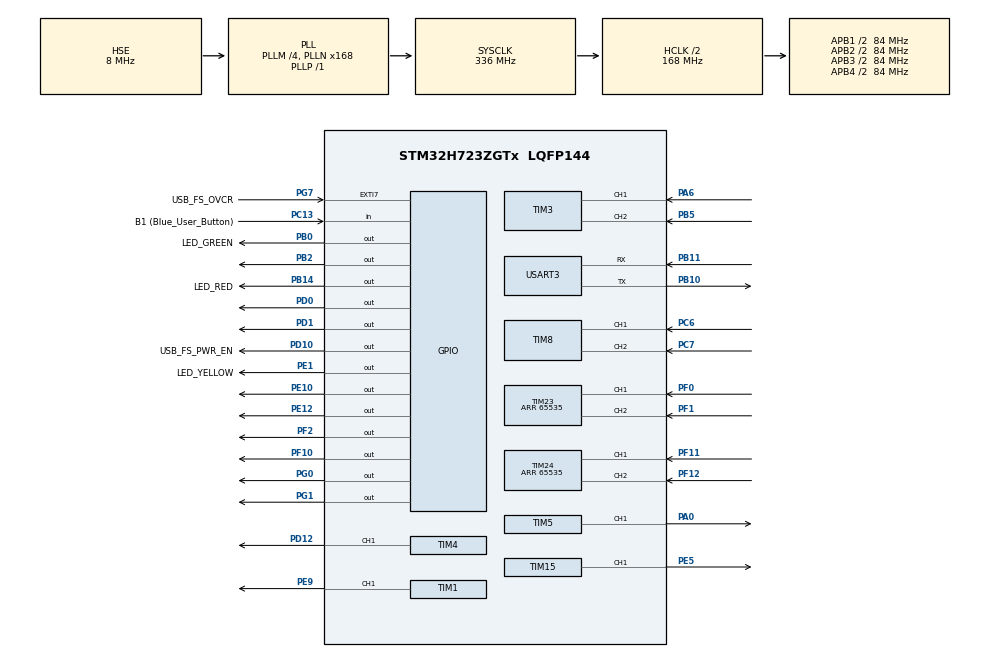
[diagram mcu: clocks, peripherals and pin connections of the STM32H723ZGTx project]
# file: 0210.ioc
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Dma.Request0=USART3_RX
Dma.Request1=USART3_TX
Dma.USART3_RX.0.Direction=DMA_PERIPH_TO_MEMORY
Dma.USART3_RX.0.EventEnable=DISABLE
Dma.USART3_RX.0.FIFOMode=DMA_FIFOMODE_DISABLE
Dma.USART3_RX.0.Instance=DMA1_Stream0
Dma.USART3_RX.0.MemDataAlignment=DMA_MDATAALIGN_BYTE
Dma.USART3_RX.0.MemInc=DMA_MINC_ENABLE
Dma.USART3_RX.0.Mode=DMA_NORMAL
Dma.USART3_RX.0.PeriphDataAlignment=DMA_PDATAALIGN_BYTE
Dma.USART3_RX.0.PeriphInc=DMA_PINC_DISABLE
Dma.USART3_RX.0.Polarity=HAL_DMAMUX_REQ_GEN_RISING
Dma.USART3_RX.0.Priority=DMA_PRIORITY_HIGH
Dma.USART3_RX.0.RequestNumber=1
Dma.USART3_RX.0.SignalID=NONE
Dma.USART3_RX.0.SyncEnable=DISABLE
Dma.USART3_RX.0.SyncPolarity=HAL_DMAMUX_SYNC_NO_EVENT
Dma.USART3_RX.0.SyncRequestNumber=1
Dma.USART3_RX.0.SyncSignalID=NONE
Dma.USART3_TX.1.Direction=DMA_MEMORY_TO_PERIPH
Dma.USART3_TX.1.EventEnable=DISABLE
Dma.USART3_TX.1.FIFOMode=DMA_FIFOMODE_DISABLE
Dma.USART3_TX.1.Instance=DMA1_Stream1
Dma.USART3_TX.1.MemDataAlignment=DMA_MDATAALIGN_BYTE
Dma.USART3_TX.1.MemInc=DMA_MINC_ENABLE
Dma.USART3_TX.1.Mode=DMA_NORMAL
Dma.USART3_TX.1.PeriphDataAlignment=DMA_PDATAALIGN_BYTE
Dma.USART3_TX.1.PeriphInc=DMA_PINC_DISABLE
Dma.USART3_TX.1.Polarity=HAL_DMAMUX_REQ_GEN_RISING
Dma.USART3_TX.1.Priority=DMA_PRIORITY_HIGH
Dma.USART3_TX.1.RequestNumber=1
Dma.USART3_TX.1.SignalID=NONE
Dma.USART3_TX.1.SyncEnable=DISABLE
Dma.USART3_TX.1.SyncPolarity=HAL_DMAMUX_SYNC_NO_EVENT
Dma.USART3_TX.1.SyncRequestNumber=1
Dma.USART3_TX.1.SyncSignalID=NONE
Mcu.Family=STM32H7
Mcu.Name=STM32H723ZGTx
Mcu.Package=LQFP144
NVIC.DMA1_Stream0_IRQn=true\:0\:0\:false\:false\:true\:false\:true\:true
NVIC.DMA1_Stream1_IRQn=true\:0\:0\:false\:false\:true\:false\:true\:true
NVIC.PriorityGroup=NVIC_PRIORITYGROUP_4
NVIC.RCC_IRQn=true\:0\:0\:false\:false\:true\:true\:false\:true
NVIC.TIM2_IRQn=true\:0\:0\:false\:false\:true\:true\:true\:true
NVIC.USART3_IRQn=true\:0\:0\:false\:false\:true\:true\:true\:true
PA0.Signal=S_TIM5_CH1
PA1.GPIO_Label=RMII_REF_CLK
PA1.Signal=ETH_REF_CLK
PA10.GPIO_Label=USB_FS_ID
PA10.Signal=USB_OTG_HS_ID
PA13(JTMS/SWDIO).GPIO_Label=SWDIO
PA13(JTMS/SWDIO).Signal=DEBUG_JTMS-SWDIO
PA14(JTCK/SWCLK).GPIO_Label=SWCLK
PA14(JTCK/SWCLK).Signal=DEBUG_JTCK-SWCLK
PA2.GPIO_Label=RMII_MDIO
PA2.Signal=ETH_MDIO
PA6.Signal=S_TIM3_CH1
PA7.GPIO_Label=RMII_CRS_DV
PA7.Signal=ETH_CRS_DV
PA9.GPIO_Label=USB_FS_VBUS
PA9.Signal=USB_OTG_HS_VBUS
PB0.GPIO_Label=LED_GREEN
PB0.Signal=GPIO_Output
PB10.Mode=Asynchronous
PB10.Signal=USART3_TX
PB11.Mode=Asynchronous
PB11.Signal=USART3_RX
PB13.GPIO_Label=RMII_TXD1
PB13.Signal=ETH_TXD1
PB14.GPIO_Label=LED_RED
PB14.Signal=GPIO_Output
PB2.Signal=GPIO_Output
PB3(JTDO/TRACESWO).GPIO_Label=SWO
PB3(JTDO/TRACESWO).Signal=DEBUG_JTDO-SWO
PB5.Signal=S_TIM3_CH2
PC1.GPIO_Label=RMII_MDC
PC1.Signal=ETH_MDC
PC13.GPIO_Label=B1 (Blue_User_Button)
PC13.Signal=GPIO_Input
PC14-OSC32_IN.Mode=LSE-External-Oscillator
PC14-OSC32_IN.Signal=RCC_OSC32_IN
PC15-OSC32_OUT.Mode=LSE-External-Oscillator
PC15-OSC32_OUT.Signal=RCC_OSC32_OUT
PC4.GPIO_Label=RMII_RXD0
PC4.Signal=ETH_RXD0
PC5.GPIO_Label=RMII_RXD1
PC5.Signal=ETH_RXD1
PC6.Signal=S_TIM8_CH1
PC7.Signal=S_TIM8_CH2
PD0.Signal=GPIO_Output
PD1.Signal=GPIO_Output
PD10.GPIO_Label=USB_FS_PWR_EN
PD10.Signal=GPIO_Output
PD12.Signal=S_TIM4_CH1
PE1.GPIO_Label=LED_YELLOW
PE1.Signal=GPIO_Output
PE10.Signal=GPIO_Output
PE12.Signal=GPIO_Output
PE5.Signal=S_TIM15_CH1
PE9.Signal=S_TIM1_CH1
PF0.Mode=Encoder_Interface
PF0.Signal=TIM23_CH1
PF1.Signal=S_TIM23_CH2
PF10.Signal=GPIO_Output
PF11.Mode=Encoder_Interface
PF11.Signal=TIM24_CH1
PF12.Signal=S_TIM24_CH2
PF2.Signal=GPIO_Output
PG0.Signal=GPIO_Output
PG1.Signal=GPIO_Output
PG11.GPIO_Label=RMII_TX_EN
PG11.Signal=ETH_TX_EN
PG13.GPIO_Label=RMII_TXD0
PG13.Signal=ETH_TXD0
PG7.GPIO_Label=USB_FS_OVCR
PG7.Signal=GPXTI7
PH0-OSC_IN.GPIO_Label=MCO
PH0-OSC_IN.Mode=HSE-External-Clock-Source
PH0-OSC_IN.Signal=RCC_OSC_IN
PH1-OSC_OUT.Signal=RCC_OSC_OUT
ProjectManager.HeapSize=0x200
ProjectManager.StackSize=0x400
ProjectManager.TargetToolchain=STM32CubeIDE
RCC.ADCFreq_Value=76000000
RCC.APB1Freq_Value=84000000
RCC.APB2Freq_Value=84000000
RCC.APB3Freq_Value=84000000
RCC.APB4Freq_Value=84000000
RCC.CortexFreq_Value=336000000
RCC.D1PPRE=RCC_APB3_DIV2
RCC.D2PPRE1=RCC_APB1_DIV2
RCC.D2PPRE2=RCC_APB2_DIV2
RCC.D3PPRE=RCC_APB4_DIV2
RCC.DIVM1=4
RCC.DIVM2=1
RCC.DIVN1=168
RCC.DIVN2=19
RCC.DIVP1=1
RCC.DIVQ1=4
RCC.HCLKFreq_Value=168000000
RCC.HPRE=RCC_HCLK_DIV2
RCC.HSE_VALUE=8000000
RCC.PLLFRACN=0
RCC.PLLSourceVirtual=RCC_PLLSOURCE_HSE
RCC.SYSCLKFreq_VALUE=336000000
RCC.SYSCLKSource=RCC_SYSCLKSOURCE_PLLCLK
RCC.USBCLockSelection=RCC_USBCLKSOURCE_HSI48
RCC.USBFreq_Value=48000000
SH.S_TIM15_CH1.0=TIM15_CH1,PWM Generation1 CH1
SH.S_TIM1_CH1.0=TIM1_CH1,PWM Generation1 CH1
SH.S_TIM23_CH2.0=TIM23_CH2,Encoder_Interface
SH.S_TIM24_CH2.0=TIM24_CH2,Encoder_Interface
SH.S_TIM3_CH1.0=TIM3_CH1,Encoder_Interface
SH.S_TIM3_CH2.0=TIM3_CH2,Encoder_Interface
SH.S_TIM4_CH1.0=TIM4_CH1,PWM Generation1 CH1
SH.S_TIM5_CH1.0=TIM5_CH1,PWM Generation1 CH1
SH.S_TIM8_CH1.0=TIM8_CH1,Encoder_Interface
SH.S_TIM8_CH2.0=TIM8_CH2,Encoder_Interface
TIM1.Channel-PWM\ Generation1\ CH1=TIM_CHANNEL_1
TIM1.Period=999
TIM1.Prescaler=0
TIM15.Channel-PWM\ Generation1\ CH1=TIM_CHANNEL_1
TIM15.Period=999
TIM15.Prescaler=2
TIM2.Period=999
TIM2.Prescaler=274
TIM23.EncoderMode=TIM_ENCODERMODE_TI12
TIM23.Period=65535
TIM24.EncoderMode=TIM_ENCODERMODE_TI12
TIM24.Period=65535
TIM3.EncoderMode=TIM_ENCODERMODE_TI12
TIM4.Channel-PWM\ Generation1\ CH1=TIM_CHANNEL_1
TIM4.Period=999
TIM4.Prescaler=2
TIM4.Pulse-PWM\ Generation1\ CH1=0
TIM5.Channel-PWM\ Generation1\ CH1=TIM_CHANNEL_1
TIM5.Period=999
TIM5.Prescaler=2
TIM8.EncoderMode=TIM_ENCODERMODE_TI12
USART3.VirtualMode-Asynchronous=VM_ASYNC
VP_TIM2_VS_ClockSourceINT.Mode=Internal
VP_TIM6_VS_ClockSourceINT.Mode=Enable_Timer
VP_TIM6_VS_OPM.Mode=OPM_bit
VP_TIM7_VS_ClockSourceINT.Mode=Enable_Timer
board=NUCLEO-H723ZG

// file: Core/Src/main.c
/* USER CODE BEGIN Header */
/**
  ******************************************************************************
  * @file           : main.c
  * @brief          : Main program body
  ******************************************************************************
  * @attention
  *
  * Copyright (c) 2023 STMicroelectronics.
  * All rights reserved.
  *
  * This software is licensed under terms that can be found in the LICENSE file
  * in the root directory of this software component.
  * If no LICENSE file comes with this software, it is provided AS-IS.
  *
  ******************************************************************************
  */
/* USER CODE END Header */
#include "main.h"

/* USER CODE BEGIN Includes */
#include "mainpp.h"
/* USER CODE END Includes */

TIM_HandleTypeDef htim1;
TIM_HandleTypeDef htim2;
TIM_HandleTypeDef htim3;
TIM_HandleTypeDef htim4;
TIM_HandleTypeDef htim5;
TIM_HandleTypeDef htim6;
TIM_HandleTypeDef htim7;
TIM_HandleTypeDef htim8;
TIM_HandleTypeDef htim15;
TIM_HandleTypeDef htim23;
TIM_HandleTypeDef htim24;

UART_HandleTypeDef huart3;
DMA_HandleTypeDef hdma_usart3_rx;
DMA_HandleTypeDef hdma_usart3_tx;

void SystemClock_Config(void);
static void MX_GPIO_Init(void);
static void MX_TIM2_Init(void);
static void MX_TIM3_Init(void);
static void MX_TIM4_Init(void);
static void MX_TIM6_Init(void);
static void MX_TIM7_Init(void);
static void MX_TIM1_Init(void);
static void MX_TIM5_Init(void);
static void MX_TIM8_Init(void);
static void MX_TIM15_Init(void);
static void MX_TIM23_Init(void);
static void MX_TIM24_Init(void);
static void MX_USART3_UART_Init(void);
static void MX_DMA_Init(void);

/* USER CODE BEGIN 0 */
double PV1, PV2, PV3, PV4;
double SP1, SP2, SP3, SP4;
double error1, error2, error3, error4;
int16_t enc1, enc2, enc3, enc4;
double Kp1, Kp2, Kp3, Kp4;
double Ki1, Ki2, Ki3, Ki4;
double ut1, ut2, ut3, ut4;
double error_last1, error_last2, error_last3, error_last4;
double errorsum1, errorsum2, errorsum3, errorsum4;
int n;
int kkk; // for publish to ROS frequency divider
int count; // test connect to ROS

// measure lx, ly
double lx, ly, r; // car's length
// get command velocity from ROS
double get_vel_x, get_vel_y, get_vel_z;
double push_vel_x, push_vel_y, push_vel_z;
int gear;
double wheel_trans1, wheel_trans2, wheel_trans3, wheel_trans4;
// void publish_vel(double x, double y, double z);

/* USER CODE END 0 */

int main(void)
{
  /* USER CODE BEGIN 1 */
	PV1 = 0, PV2 = 0, PV3 = 0, PV4 = 0;
	SP1 = 0, SP2 = 0, SP3 = 0, SP4 = 0;

	n = 0;
	kkk = 0;
	count = 0;
	error1 = PV1 - SP1;
	error2 = PV2 - SP2;
	error3 = PV3 - SP3;
	error4 = PV4 - SP4;
	enc1 = 0, enc2 = 0, enc3 = 0, enc4 = 0;

	Kp1 = 0.361732063; // blue
	Ki1 = 15.80374981; // blue
	Kp2 = 0.394239297; // purple
	Ki2 = 16.97823652; // purple
	Kp3 = 0.408122176;  // 801 0.408122176
	Ki3 = 15.83432596; // 801 15.83432596
	Kp4 = 0.541670637;  // DC9 0.541670637
	Ki4 = 18.96397104;  // DC9 18.96397104

	error_last1 = 0;
	error_last2 = 0;
	error_last3 = 0;
	error_last4 = 0;

	errorsum1 = 0;
	errorsum2 = 0;
	errorsum3 = 0;
	errorsum4 = 0;

	push_vel_x = 0;
	push_vel_y = 0;
	push_vel_z = 0;

	lx = 0.05825; // lx 58.25 mm(forward backward direction)
	ly = 0.10175; // ly 101.75 mm
	r = 0.05; // unit m(measure on 5/18)

	gear = 75;

	wheel_trans2 = 9.85413;
	wheel_trans1 = 9.77036;
	wheel_trans4 = 10.0845;
	wheel_trans3 = 9.86461;
  /* USER CODE END 1 */

  /* MCU Configuration--------------------------------------------------------*/

  /* Reset of all peripherals, Initializes the Flash interface and the Systick. */
  HAL_Init();

  /* Configure the system clock */
  SystemClock_Config();

  /* Initialize all configured peripherals */
  MX_GPIO_Init();
  MX_DMA_Init();
  MX_TIM2_Init();
  MX_TIM3_Init();
  MX_TIM4_Init();
  MX_TIM6_Init();
  MX_TIM7_Init();
  MX_TIM1_Init();
  MX_TIM5_Init();
  MX_TIM8_Init();
  MX_TIM15_Init();
  MX_TIM23_Init();
  MX_TIM24_Init();
  MX_USART3_UART_Init();
  /* USER CODE BEGIN 2 */

  HAL_TIM_Base_Start_IT(&htim2);
  HAL_TIM_Encoder_Start(&htim3, TIM_CHANNEL_1);
  HAL_TIM_Encoder_Start(&htim8, TIM_CHANNEL_1);
  HAL_TIM_Encoder_Start(&htim23, TIM_CHANNEL_1);
  HAL_TIM_Encoder_Start(&htim24, TIM_CHANNEL_1);
  HAL_TIM_PWM_Start(&htim4, TIM_CHANNEL_1);
  HAL_TIM_PWM_Start(&htim5, TIM_CHANNEL_1);
  HAL_TIM_PWM_Start(&htim15, TIM_CHANNEL_1);
  HAL_TIM_PWM_Start(&htim1, TIM_CHANNEL_1);

  setup();
  /* USER CODE END 2 */

  /* Infinite loop */
  while (1)
  {

    /* USER CODE BEGIN 3 */
	  loop();
  }
  /* USER CODE END 3 */
}

void SystemClock_Config(void)
{
  RCC_OscInitTypeDef RCC_OscInitStruct = {0};
  RCC_ClkInitTypeDef RCC_ClkInitStruct = {0};

  /** Supply configuration update enable
  */
  HAL_PWREx_ConfigSupply(PWR_LDO_SUPPLY);

  /** Configure the main internal regulator output voltage
  */
  __HAL_PWR_VOLTAGESCALING_CONFIG(PWR_REGULATOR_VOLTAGE_SCALE1);

  while(!__HAL_PWR_GET_FLAG(PWR_FLAG_VOSRDY)) {}

  /** Initializes the RCC Oscillators according to the specified parameters
  * in the RCC_OscInitTypeDef structure.
  */
  RCC_OscInitStruct.OscillatorType = RCC_OSCILLATORTYPE_HSE;
  RCC_OscInitStruct.HSEState = RCC_HSE_BYPASS;
  RCC_OscInitStruct.PLL.PLLState = RCC_PLL_ON;
  RCC_OscInitStruct.PLL.PLLSource = RCC_PLLSOURCE_HSE;
  RCC_OscInitStruct.PLL.PLLM = 4;
  RCC_OscInitStruct.PLL.PLLN = 168;
  RCC_OscInitStruct.PLL.PLLP = 1;
  RCC_OscInitStruct.PLL.PLLQ = 4;
  RCC_OscInitStruct.PLL.PLLR = 2;
  RCC_OscInitStruct.PLL.PLLRGE = RCC_PLL1VCIRANGE_1;
  RCC_OscInitStruct.PLL.PLLVCOSEL = RCC_PLL1VCOWIDE;
  RCC_OscInitStruct.PLL.PLLFRACN = 0;
  if (HAL_RCC_OscConfig(&RCC_OscInitStruct) != HAL_OK)
  {
    Error_Handler();
  }

  /** Initializes the CPU, AHB and APB buses clocks
  */
  RCC_ClkInitStruct.ClockType = RCC_CLOCKTYPE_HCLK|RCC_CLOCKTYPE_SYSCLK
                              |RCC_CLOCKTYPE_PCLK1|RCC_CLOCKTYPE_PCLK2
                              |RCC_CLOCKTYPE_D3PCLK1|RCC_CLOCKTYPE_D1PCLK1;
  RCC_ClkInitStruct.SYSCLKSource = RCC_SYSCLKSOURCE_PLLCLK;
  RCC_ClkInitStruct.SYSCLKDivider = RCC_SYSCLK_DIV1;
  RCC_ClkInitStruct.AHBCLKDivider = RCC_HCLK_DIV2;
  RCC_ClkInitStruct.APB3CLKDivider = RCC_APB3_DIV2;
  RCC_ClkInitStruct.APB1CLKDivider = RCC_APB1_DIV2;
  RCC_ClkInitStruct.APB2CLKDivider = RCC_APB2_DIV2;
  RCC_ClkInitStruct.APB4CLKDivider = RCC_APB4_DIV2;

  if (HAL_RCC_ClockConfig(&RCC_ClkInitStruct, FLASH_LATENCY_2) != HAL_OK)
  {
    Error_Handler();
  }
}

static void MX_TIM1_Init(void)
{

  TIM_MasterConfigTypeDef sMasterConfig = {0};
  TIM_OC_InitTypeDef sConfigOC = {0};
  TIM_BreakDeadTimeConfigTypeDef sBreakDeadTimeConfig = {0};

  htim1.Instance = TIM1;
  htim1.Init.Prescaler = 0;
  htim1.Init.CounterMode = TIM_COUNTERMODE_UP;
  htim1.Init.Period = 999;
  htim1.Init.ClockDivision = TIM_CLOCKDIVISION_DIV1;
  htim1.Init.RepetitionCounter = 0;
  htim1.Init.AutoReloadPreload = TIM_AUTORELOAD_PRELOAD_DISABLE;
  if (HAL_TIM_PWM_Init(&htim1) != HAL_OK)
  {
    Error_Handler();
  }
  sMasterConfig.MasterOutputTrigger = TIM_TRGO_RESET;
  sMasterConfig.MasterOutputTrigger2 = TIM_TRGO2_RESET;
  sMasterConfig.MasterSlaveMode = TIM_MASTERSLAVEMODE_DISABLE;
  if (HAL_TIMEx_MasterConfigSynchronization(&htim1, &sMasterConfig) != HAL_OK)
  {
    Error_Handler();
  }
  sConfigOC.OCMode = TIM_OCMODE_PWM1;
  sConfigOC.Pulse = 0;
  sConfigOC.OCPolarity = TIM_OCPOLARITY_HIGH;
  sConfigOC.OCNPolarity = TIM_OCNPOLARITY_HIGH;
  sConfigOC.OCFastMode = TIM_OCFAST_DISABLE;
  sConfigOC.OCIdleState = TIM_OCIDLESTATE_RESET;
  sConfigOC.OCNIdleState = TIM_OCNIDLESTATE_RESET;
  if (HAL_TIM_PWM_ConfigChannel(&htim1, &sConfigOC, TIM_CHANNEL_1) != HAL_OK)
  {
    Error_Handler();
  }
  sBreakDeadTimeConfig.OffStateRunMode = TIM_OSSR_DISABLE;
  sBreakDeadTimeConfig.OffStateIDLEMode = TIM_OSSI_DISABLE;
  sBreakDeadTimeConfig.LockLevel = TIM_LOCKLEVEL_OFF;
  sBreakDeadTimeConfig.DeadTime = 0;
  sBreakDeadTimeConfig.BreakState = TIM_BREAK_DISABLE;
  sBreakDeadTimeConfig.BreakPolarity = TIM_BREAKPOLARITY_HIGH;
  sBreakDeadTimeConfig.BreakFilter = 0;
  sBreakDeadTimeConfig.Break2State = TIM_BREAK2_DISABLE;
  sBreakDeadTimeConfig.Break2Polarity = TIM_BREAK2POLARITY_HIGH;
  sBreakDeadTimeConfig.Break2Filter = 0;
  sBreakDeadTimeConfig.AutomaticOutput = TIM_AUTOMATICOUTPUT_DISABLE;
  if (HAL_TIMEx_ConfigBreakDeadTime(&htim1, &sBreakDeadTimeConfig) != HAL_OK)
  {
    Error_Handler();
  }
  HAL_TIM_MspPostInit(&htim1);

}

static void MX_TIM2_Init(void)
{

  TIM_ClockConfigTypeDef sClockSourceConfig = {0};
  TIM_MasterConfigTypeDef sMasterConfig = {0};

  htim2.Instance = TIM2;
  htim2.Init.Prescaler = 274;
  htim2.Init.CounterMode = TIM_COUNTERMODE_UP;
  htim2.Init.Period = 999;
  htim2.Init.ClockDivision = TIM_CLOCKDIVISION_DIV1;
  htim2.Init.AutoReloadPreload = TIM_AUTORELOAD_PRELOAD_DISABLE;
  if (HAL_TIM_Base_Init(&htim2) != HAL_OK)
  {
    Error_Handler();
  }
  sClockSourceConfig.ClockSource = TIM_CLOCKSOURCE_INTERNAL;
  if (HAL_TIM_ConfigClockSource(&htim2, &sClockSourceConfig) != HAL_OK)
  {
    Error_Handler();
  }
  sMasterConfig.MasterOutputTrigger = TIM_TRGO_RESET;
  sMasterConfig.MasterSlaveMode = TIM_MASTERSLAVEMODE_DISABLE;
  if (HAL_TIMEx_MasterConfigSynchronization(&htim2, &sMasterConfig) != HAL_OK)
  {
    Error_Handler();
  }

}

static void MX_TIM3_Init(void)
{

  TIM_Encoder_InitTypeDef sConfig = {0};
  TIM_MasterConfigTypeDef sMasterConfig = {0};

  htim3.Instance = TIM3;
  htim3.Init.Prescaler = 0;
  htim3.Init.CounterMode = TIM_COUNTERMODE_UP;
  htim3.Init.Period = 65535;
  htim3.Init.ClockDivision = TIM_CLOCKDIVISION_DIV1;
  htim3.Init.AutoReloadPreload = TIM_AUTORELOAD_PRELOAD_DISABLE;
  sConfig.EncoderMode = TIM_ENCODERMODE_TI12;
  sConfig.IC1Polarity = TIM_ICPOLARITY_RISING;
  sConfig.IC1Selection = TIM_ICSELECTION_DIRECTTI;
  sConfig.IC1Prescaler = TIM_ICPSC_DIV1;
  sConfig.IC1Filter = 0;
  sConfig.IC2Polarity = TIM_ICPOLARITY_RISING;
  sConfig.IC2Selection = TIM_ICSELECTION_DIRECTTI;
  sConfig.IC2Prescaler = TIM_ICPSC_DIV1;
  sConfig.IC2Filter = 0;
  if (HAL_TIM_Encoder_Init(&htim3, &sConfig) != HAL_OK)
  {
    Error_Handler();
  }
  sMasterConfig.MasterOutputTrigger = TIM_TRGO_RESET;
  sMasterConfig.MasterSlaveMode = TIM_MASTERSLAVEMODE_DISABLE;
  if (HAL_TIMEx_MasterConfigSynchronization(&htim3, &sMasterConfig) != HAL_OK)
  {
    Error_Handler();
  }

}

static void MX_TIM4_Init(void)
{

  TIM_MasterConfigTypeDef sMasterConfig = {0};
  TIM_OC_InitTypeDef sConfigOC = {0};

  htim4.Instance = TIM4;
  htim4.Init.Prescaler = 2;
  htim4.Init.CounterMode = TIM_COUNTERMODE_UP;
  htim4.Init.Period = 999;
  htim4.Init.ClockDivision = TIM_CLOCKDIVISION_DIV1;
  htim4.Init.AutoReloadPreload = TIM_AUTORELOAD_PRELOAD_DISABLE;
  if (HAL_TIM_PWM_Init(&htim4) != HAL_OK)
  {
    Error_Handler();
  }
  sMasterConfig.MasterOutputTrigger = TIM_TRGO_RESET;
  sMasterConfig.MasterSlaveMode = TIM_MASTERSLAVEMODE_DISABLE;
  if (HAL_TIMEx_MasterConfigSynchronization(&htim4, &sMasterConfig) != HAL_OK)
  {
    Error_Handler();
  }
  sConfigOC.OCMode = TIM_OCMODE_PWM1;
  sConfigOC.Pulse = 0;
  sConfigOC.OCPolarity = TIM_OCPOLARITY_HIGH;
  sConfigOC.OCFastMode = TIM_OCFAST_DISABLE;
  if (HAL_TIM_PWM_ConfigChannel(&htim4, &sConfigOC, TIM_CHANNEL_1) != HAL_OK)
  {
    Error_Handler();
  }
  HAL_TIM_MspPostInit(&htim4);

}

static void MX_TIM5_Init(void)
{

  TIM_MasterConfigTypeDef sMasterConfig = {0};
  TIM_OC_InitTypeDef sConfigOC = {0};

  htim5.Instance = TIM5;
  htim5.Init.Prescaler = 2;
  htim5.Init.CounterMode = TIM_COUNTERMODE_UP;
  htim5.Init.Period = 999;
  htim5.Init.ClockDivision = TIM_CLOCKDIVISION_DIV1;
  htim5.Init.AutoReloadPreload = TIM_AUTORELOAD_PRELOAD_DISABLE;
  if (HAL_TIM_PWM_Init(&htim5) != HAL_OK)
  {
    Error_Handler();
  }
  sMasterConfig.MasterOutputTrigger = TIM_TRGO_RESET;
  sMasterConfig.MasterSlaveMode = TIM_MASTERSLAVEMODE_DISABLE;
  if (HAL_TIMEx_MasterConfigSynchronization(&htim5, &sMasterConfig) != HAL_OK)
  {
    Error_Handler();
  }
  sConfigOC.OCMode = TIM_OCMODE_PWM1;
  sConfigOC.Pulse = 0;
  sConfigOC.OCPolarity = TIM_OCPOLARITY_HIGH;
  sConfigOC.OCFastMode = TIM_OCFAST_DISABLE;
  if (HAL_TIM_PWM_ConfigChannel(&htim5, &sConfigOC, TIM_CHANNEL_1) != HAL_OK)
  {
    Error_Handler();
  }
  HAL_TIM_MspPostInit(&htim5);

}

static void MX_TIM6_Init(void)
{

  TIM_MasterConfigTypeDef sMasterConfig = {0};

  htim6.Instance = TIM6;
  htim6.Init.Prescaler = 0;
  htim6.Init.CounterMode = TIM_COUNTERMODE_UP;
  htim6.Init.Period = 65535;
  htim6.Init.AutoReloadPreload = TIM_AUTORELOAD_PRELOAD_DISABLE;
  if (HAL_TIM_Base_Init(&htim6) != HAL_OK)
  {
    Error_Handler();
  }
  if (HAL_TIM_OnePulse_Init(&htim6, TIM_OPMODE_SINGLE) != HAL_OK)
  {
    Error_Handler();
  }
  sMasterConfig.MasterOutputTrigger = TIM_TRGO_RESET;
  sMasterConfig.MasterSlaveMode = TIM_MASTERSLAVEMODE_DISABLE;
  if (HAL_TIMEx_MasterConfigSynchronization(&htim6, &sMasterConfig) != HAL_OK)
  {
    Error_Handler();
  }

}

static void MX_TIM7_Init(void)
{

  TIM_MasterConfigTypeDef sMasterConfig = {0};

  htim7.Instance = TIM7;
  htim7.Init.Prescaler = 0;
  htim7.Init.CounterMode = TIM_COUNTERMODE_UP;
  htim7.Init.Period = 65535;
  htim7.Init.AutoReloadPreload = TIM_AUTORELOAD_PRELOAD_DISABLE;
  if (HAL_TIM_Base_Init(&htim7) != HAL_OK)
  {
    Error_Handler();
  }
  sMasterConfig.MasterOutputTrigger = TIM_TRGO_RESET;
  sMasterConfig.MasterSlaveMode = TIM_MASTERSLAVEMODE_DISABLE;
  if (HAL_TIMEx_MasterConfigSynchronization(&htim7, &sMasterConfig) != HAL_OK)
  {
    Error_Handler();
  }

}

static void MX_TIM8_Init(void)
{

  TIM_Encoder_InitTypeDef sConfig = {0};
  TIM_MasterConfigTypeDef sMasterConfig = {0};

  htim8.Instance = TIM8;
  htim8.Init.Prescaler = 0;
  htim8.Init.CounterMode = TIM_COUNTERMODE_UP;
  htim8.Init.Period = 65535;
  htim8.Init.ClockDivision = TIM_CLOCKDIVISION_DIV1;
  htim8.Init.RepetitionCounter = 0;
  htim8.Init.AutoReloadPreload = TIM_AUTORELOAD_PRELOAD_DISABLE;
  sConfig.EncoderMode = TIM_ENCODERMODE_TI12;
  sConfig.IC1Polarity = TIM_ICPOLARITY_RISING;
  sConfig.IC1Selection = TIM_ICSELECTION_DIRECTTI;
  sConfig.IC1Prescaler = TIM_ICPSC_DIV1;
  sConfig.IC1Filter = 0;
  sConfig.IC2Polarity = TIM_ICPOLARITY_RISING;
  sConfig.IC2Selection = TIM_ICSELECTION_DIRECTTI;
  sConfig.IC2Prescaler = TIM_ICPSC_DIV1;
  sConfig.IC2Filter = 0;
  if (HAL_TIM_Encoder_Init(&htim8, &sConfig) != HAL_OK)
  {
    Error_Handler();
  }
  sMasterConfig.MasterOutputTrigger = TIM_TRGO_RESET;
  sMasterConfig.MasterOutputTrigger2 = TIM_TRGO2_RESET;
  sMasterConfig.MasterSlaveMode = TIM_MASTERSLAVEMODE_DISABLE;
  if (HAL_TIMEx_MasterConfigSynchronization(&htim8, &sMasterConfig) != HAL_OK)
  {
    Error_Handler();
  }

}

static void MX_TIM15_Init(void)
{

  TIM_MasterConfigTypeDef sMasterConfig = {0};
  TIM_OC_InitTypeDef sConfigOC = {0};
  TIM_BreakDeadTimeConfigTypeDef sBreakDeadTimeConfig = {0};

  htim15.Instance = TIM15;
  htim15.Init.Prescaler = 2;
  htim15.Init.CounterMode = TIM_COUNTERMODE_UP;
  htim15.Init.Period = 999;
  htim15.Init.ClockDivision = TIM_CLOCKDIVISION_DIV1;
  htim15.Init.RepetitionCounter = 0;
  htim15.Init.AutoReloadPreload = TIM_AUTORELOAD_PRELOAD_DISABLE;
  if (HAL_TIM_PWM_Init(&htim15) != HAL_OK)
  {
    Error_Handler();
  }
  sMasterConfig.MasterOutputTrigger = TIM_TRGO_RESET;
  sMasterConfig.MasterSlaveMode = TIM_MASTERSLAVEMODE_DISABLE;
  if (HAL_TIMEx_MasterConfigSynchronization(&htim15, &sMasterConfig) != HAL_OK)
  {
    Error_Handler();
  }
  sConfigOC.OCMode = TIM_OCMODE_PWM1;
  sConfigOC.Pulse = 0;
  sConfigOC.OCPolarity = TIM_OCPOLARITY_HIGH;
  sConfigOC.OCNPolarity = TIM_OCNPOLARITY_HIGH;
  sConfigOC.OCFastMode = TIM_OCFAST_DISABLE;
  sConfigOC.OCIdleState = TIM_OCIDLESTATE_RESET;
  sConfigOC.OCNIdleState = TIM_OCNIDLESTATE_RESET;
  if (HAL_TIM_PWM_ConfigChannel(&htim15, &sConfigOC, TIM_CHANNEL_1) != HAL_OK)
  {
    Error_Handler();
  }
  sBreakDeadTimeConfig.OffStateRunMode = TIM_OSSR_DISABLE;
  sBreakDeadTimeConfig.OffStateIDLEMode = TIM_OSSI_DISABLE;
  sBreakDeadTimeConfig.LockLevel = TIM_LOCKLEVEL_OFF;
  sBreakDeadTimeConfig.DeadTime = 0;
  sBreakDeadTimeConfig.BreakState = TIM_BREAK_DISABLE;
  sBreakDeadTimeConfig.BreakPolarity = TIM_BREAKPOLARITY_HIGH;
  sBreakDeadTimeConfig.BreakFilter = 0;
  sBreakDeadTimeConfig.AutomaticOutput = TIM_AUTOMATICOUTPUT_DISABLE;
  if (HAL_TIMEx_ConfigBreakDeadTime(&htim15, &sBreakDeadTimeConfig) != HAL_OK)
  {
    Error_Handler();
  }
  HAL_TIM_MspPostInit(&htim15);

}

static void MX_TIM23_Init(void)
{

  TIM_Encoder_InitTypeDef sConfig = {0};
  TIM_MasterConfigTypeDef sMasterConfig = {0};

  htim23.Instance = TIM23;
  htim23.Init.Prescaler = 0;
  htim23.Init.CounterMode = TIM_COUNTERMODE_UP;
  htim23.Init.Period = 65535;
  htim23.Init.ClockDivision = TIM_CLOCKDIVISION_DIV1;
  htim23.Init.AutoReloadPreload = TIM_AUTORELOAD_PRELOAD_DISABLE;
  sConfig.EncoderMode = TIM_ENCODERMODE_TI12;
  sConfig.IC1Polarity = TIM_ICPOLARITY_RISING;
  sConfig.IC1Selection = TIM_ICSELECTION_DIRECTTI;
  sConfig.IC1Prescaler = TIM_ICPSC_DIV1;
  sConfig.IC1Filter = 0;
  sConfig.IC2Polarity = TIM_ICPOLARITY_RISING;
  sConfig.IC2Selection = TIM_ICSELECTION_DIRECTTI;
  sConfig.IC2Prescaler = TIM_ICPSC_DIV1;
  sConfig.IC2Filter = 0;
  if (HAL_TIM_Encoder_Init(&htim23, &sConfig) != HAL_OK)
  {
    Error_Handler();
  }
  sMasterConfig.MasterOutputTrigger = TIM_TRGO_RESET;
  sMasterConfig.MasterSlaveMode = TIM_MASTERSLAVEMODE_DISABLE;
  if (HAL_TIMEx_MasterConfigSynchronization(&htim23, &sMasterConfig) != HAL_OK)
  {
    Error_Handler();
  }

}

static void MX_TIM24_Init(void)
{

  TIM_Encoder_InitTypeDef sConfig = {0};
  TIM_MasterConfigTypeDef sMasterConfig = {0};

  htim24.Instance = TIM24;
  htim24.Init.Prescaler = 0;
  htim24.Init.CounterMode = TIM_COUNTERMODE_UP;
  htim24.Init.Period = 65535;
  htim24.Init.ClockDivision = TIM_CLOCKDIVISION_DIV1;
  htim24.Init.AutoReloadPreload = TIM_AUTORELOAD_PRELOAD_DISABLE;
  sConfig.EncoderMode = TIM_ENCODERMODE_TI12;
  sConfig.IC1Polarity = TIM_ICPOLARITY_RISING;
  sConfig.IC1Selection = TIM_ICSELECTION_DIRECTTI;
  sConfig.IC1Prescaler = TIM_ICPSC_DIV1;
  sConfig.IC1Filter = 0;
  sConfig.IC2Polarity = TIM_ICPOLARITY_RISING;
  sConfig.IC2Selection = TIM_ICSELECTION_DIRECTTI;
  sConfig.IC2Prescaler = TIM_ICPSC_DIV1;
  sConfig.IC2Filter = 0;
  if (HAL_TIM_Encoder_Init(&htim24, &sConfig) != HAL_OK)
  {
    Error_Handler();
  }
  sMasterConfig.MasterOutputTrigger = TIM_TRGO_RESET;
  sMasterConfig.MasterSlaveMode = TIM_MASTERSLAVEMODE_DISABLE;
  if (HAL_TIMEx_MasterConfigSynchronization(&htim24, &sMasterConfig) != HAL_OK)
  {
    Error_Handler();
  }

}

static void MX_USART3_UART_Init(void)
{

  huart3.Instance = USART3;
  huart3.Init.BaudRate = 115200;
  huart3.Init.WordLength = UART_WORDLENGTH_8B;
  huart3.Init.StopBits = UART_STOPBITS_1;
  huart3.Init.Parity = UART_PARITY_NONE;
  huart3.Init.Mode = UART_MODE_TX_RX;
  huart3.Init.HwFlowCtl = UART_HWCONTROL_NONE;
  huart3.Init.OverSampling = UART_OVERSAMPLING_16;
  huart3.Init.OneBitSampling = UART_ONE_BIT_SAMPLE_DISABLE;
  huart3.Init.ClockPrescaler = UART_PRESCALER_DIV1;
  huart3.AdvancedInit.AdvFeatureInit = UART_ADVFEATURE_NO_INIT;
  if (HAL_UART_Init(&huart3) != HAL_OK)
  {
    Error_Handler();
  }
  if (HAL_UARTEx_SetTxFifoThreshold(&huart3, UART_TXFIFO_THRESHOLD_1_8) != HAL_OK)
  {
    Error_Handler();
  }
  if (HAL_UARTEx_SetRxFifoThreshold(&huart3, UART_RXFIFO_THRESHOLD_1_8) != HAL_OK)
  {
    Error_Handler();
  }
  if (HAL_UARTEx_DisableFifoMode(&huart3) != HAL_OK)
  {
    Error_Handler();
  }

}

static void MX_DMA_Init(void)
{

  /* DMA controller clock enable */
  __HAL_RCC_DMA1_CLK_ENABLE();

  /* DMA interrupt init */
  /* DMA1_Stream0_IRQn interrupt configuration */
  HAL_NVIC_SetPriority(DMA1_Stream0_IRQn, 0, 0);
  HAL_NVIC_EnableIRQ(DMA1_Stream0_IRQn);
  /* DMA1_Stream1_IRQn interrupt configuration */
  HAL_NVIC_SetPriority(DMA1_Stream1_IRQn, 0, 0);
  HAL_NVIC_EnableIRQ(DMA1_Stream1_IRQn);

}

static void MX_GPIO_Init(void)
{
  GPIO_InitTypeDef GPIO_InitStruct = {0};

  /* GPIO Ports Clock Enable */
  __HAL_RCC_GPIOE_CLK_ENABLE();
  __HAL_RCC_GPIOC_CLK_ENABLE();
  __HAL_RCC_GPIOF_CLK_ENABLE();
  __HAL_RCC_GPIOH_CLK_ENABLE();
  __HAL_RCC_GPIOA_CLK_ENABLE();
  __HAL_RCC_GPIOB_CLK_ENABLE();
  __HAL_RCC_GPIOG_CLK_ENABLE();
  __HAL_RCC_GPIOD_CLK_ENABLE();

  /*Configure GPIO pin Output Level */
  HAL_GPIO_WritePin(GPIOF, GPIO_PIN_2|GPIO_PIN_10, GPIO_PIN_RESET);

  /*Configure GPIO pin Output Level */
  HAL_GPIO_WritePin(GPIOB, LED_GREEN_Pin|GPIO_PIN_2|LED_RED_Pin, GPIO_PIN_RESET);

  /*Configure GPIO pin Output Level */
  HAL_GPIO_WritePin(GPIOG, GPIO_PIN_0|GPIO_PIN_1, GPIO_PIN_RESET);

  /*Configure GPIO pin Output Level */
  HAL_GPIO_WritePin(GPIOE, GPIO_PIN_10|GPIO_PIN_12|LED_YELLOW_Pin, GPIO_PIN_RESET);

  /*Configure GPIO pin Output Level */
  HAL_GPIO_WritePin(GPIOD, USB_FS_PWR_EN_Pin|GPIO_PIN_0|GPIO_PIN_1, GPIO_PIN_RESET);

  /*Configure GPIO pin : B1_Pin */
  GPIO_InitStruct.Pin = B1_Pin;
  GPIO_InitStruct.Mode = GPIO_MODE_INPUT;
  GPIO_InitStruct.Pull = GPIO_NOPULL;
  HAL_GPIO_Init(B1_GPIO_Port, &GPIO_InitStruct);

  /*Configure GPIO pins : PF2 PF10 */
  GPIO_InitStruct.Pin = GPIO_PIN_2|GPIO_PIN_10;
  GPIO_InitStruct.Mode = GPIO_MODE_OUTPUT_PP;
  GPIO_InitStruct.Pull = GPIO_NOPULL;
  GPIO_InitStruct.Speed = GPIO_SPEED_FREQ_LOW;
  HAL_GPIO_Init(GPIOF, &GPIO_InitStruct);

  /*Configure GPIO pins : RMII_MDC_Pin RMII_RXD0_Pin RMII_RXD1_Pin */
  GPIO_InitStruct.Pin = RMII_MDC_Pin|RMII_RXD0_Pin|RMII_RXD1_Pin;
  GPIO_InitStruct.Mode = GPIO_MODE_AF_PP;
  GPIO_InitStruct.Pull = GPIO_NOPULL;
  GPIO_InitStruct.Speed = GPIO_SPEED_FREQ_LOW;
  GPIO_InitStruct.Alternate = GPIO_AF11_ETH;
  HAL_GPIO_Init(GPIOC, &GPIO_InitStruct);

  /*Configure GPIO pins : RMII_REF_CLK_Pin RMII_MDIO_Pin RMII_CRS_DV_Pin */
  GPIO_InitStruct.Pin = RMII_REF_CLK_Pin|RMII_MDIO_Pin|RMII_CRS_DV_Pin;
  GPIO_InitStruct.Mode = GPIO_MODE_AF_PP;
  GPIO_InitStruct.Pull = GPIO_NOPULL;
  GPIO_InitStruct.Speed = GPIO_SPEED_FREQ_LOW;
  GPIO_InitStruct.Alternate = GPIO_AF11_ETH;
  HAL_GPIO_Init(GPIOA, &GPIO_InitStruct);

  /*Configure GPIO pins : LED_GREEN_Pin PB2 LED_RED_Pin */
  GPIO_InitStruct.Pin = LED_GREEN_Pin|GPIO_PIN_2|LED_RED_Pin;
  GPIO_InitStruct.Mode = GPIO_MODE_OUTPUT_PP;
  GPIO_InitStruct.Pull = GPIO_NOPULL;
  GPIO_InitStruct.Speed = GPIO_SPEED_FREQ_LOW;
  HAL_GPIO_Init(GPIOB, &GPIO_InitStruct);

  /*Configure GPIO pins : PG0 PG1 */
  GPIO_InitStruct.Pin = GPIO_PIN_0|GPIO_PIN_1;
  GPIO_InitStruct.Mode = GPIO_MODE_OUTPUT_PP;
  GPIO_InitStruct.Pull = GPIO_NOPULL;
  GPIO_InitStruct.Speed = GPIO_SPEED_FREQ_LOW;
  HAL_GPIO_Init(GPIOG, &GPIO_InitStruct);

  /*Configure GPIO pins : PE10 PE12 LED_YELLOW_Pin */
  GPIO_InitStruct.Pin = GPIO_PIN_10|GPIO_PIN_12|LED_YELLOW_Pin;
  GPIO_InitStruct.Mode = GPIO_MODE_OUTPUT_PP;
  GPIO_InitStruct.Pull = GPIO_NOPULL;
  GPIO_InitStruct.Speed = GPIO_SPEED_FREQ_LOW;
  HAL_GPIO_Init(GPIOE, &GPIO_InitStruct);

  /*Configure GPIO pin : RMII_TXD1_Pin */
  GPIO_InitStruct.Pin = RMII_TXD1_Pin;
  GPIO_InitStruct.Mode = GPIO_MODE_AF_PP;
  GPIO_InitStruct.Pull = GPIO_NOPULL;
  GPIO_InitStruct.Speed = GPIO_SPEED_FREQ_LOW;
  GPIO_InitStruct.Alternate = GPIO_AF11_ETH;
  HAL_GPIO_Init(RMII_TXD1_GPIO_Port, &GPIO_InitStruct);

  /*Configure GPIO pins : USB_FS_PWR_EN_Pin PD0 PD1 */
  GPIO_InitStruct.Pin = USB_FS_PWR_EN_Pin|GPIO_PIN_0|GPIO_PIN_1;
  GPIO_InitStruct.Mode = GPIO_MODE_OUTPUT_PP;
  GPIO_InitStruct.Pull = GPIO_NOPULL;
  GPIO_InitStruct.Speed = GPIO_SPEED_FREQ_LOW;
  HAL_GPIO_Init(GPIOD, &GPIO_InitStruct);

  /*Configure GPIO pin : USB_FS_OVCR_Pin */
  GPIO_InitStruct.Pin = USB_FS_OVCR_Pin;
  GPIO_InitStruct.Mode = GPIO_MODE_IT_RISING;
  GPIO_InitStruct.Pull = GPIO_NOPULL;
  HAL_GPIO_Init(USB_FS_OVCR_GPIO_Port, &GPIO_InitStruct);

  /*Configure GPIO pin : USB_FS_ID_Pin */
  GPIO_InitStruct.Pin = USB_FS_ID_Pin;
  GPIO_InitStruct.Mode = GPIO_MODE_AF_PP;
  GPIO_InitStruct.Pull = GPIO_NOPULL;
  GPIO_InitStruct.Speed = GPIO_SPEED_FREQ_LOW;
  GPIO_InitStruct.Alternate = GPIO_AF10_OTG1_HS;
  HAL_GPIO_Init(USB_FS_ID_GPIO_Port, &GPIO_InitStruct);

  /*Configure GPIO pins : RMII_TX_EN_Pin RMII_TXD0_Pin */
  GPIO_InitStruct.Pin = RMII_TX_EN_Pin|RMII_TXD0_Pin;
  GPIO_InitStruct.Mode = GPIO_MODE_AF_PP;
  GPIO_InitStruct.Pull = GPIO_NOPULL;
  GPIO_InitStruct.Speed = GPIO_SPEED_FREQ_LOW;
  GPIO_InitStruct.Alternate = GPIO_AF11_ETH;
  HAL_GPIO_Init(GPIOG, &GPIO_InitStruct);

}

/* USER CODE BEGIN 4 */
// PID matlab
/*
	void HAL_TIM_PeriodElapsedCallback(TIM_HandleTypeDef *htim)
{
		if(htim -> Instance == TIM2){
		enc = __HAL_TIM_GetCounter(&htim3);
		output = (double) enc / (4 * 512 * 36 * 0.001);
		n++;
		if(n > 4999){
			n = 4999;
		}
		__HAL_TIM_SetCounter(&htim3, 0);
		HAL_GPIO_WritePin(GPIOG, GPIO_PIN_5, GPIO_PIN_SET);
		HAL_GPIO_WritePin(GPIOG, GPIO_PIN_6, GPIO_PIN_RESET);
		__HAL_TIM_SET_COMPARE(&htim4, TIM_CHANNEL_1, 1000);
}
}
PID ?�度*/
void HAL_TIM_PeriodElapsedCallback(TIM_HandleTypeDef *htim){
	if(htim -> Instance == TIM2){

		// rad/s to rpm
		SP2 = 1/r * (get_vel_x - get_vel_y - (lx + ly) * get_vel_z) / wheel_trans2; // fl
		SP1 = 1/r * (get_vel_x + get_vel_y + (lx + ly) * get_vel_z) / wheel_trans1; // fr
		SP4 = 1/r * (get_vel_x + get_vel_y - (lx + ly) * get_vel_z) / wheel_trans4; // rl
		SP3 = 1/r * (get_vel_x - get_vel_y + (lx + ly) * get_vel_z) / wheel_trans3; // rr
//      SP ~ 1 is suitable speed

		// 1 -> front right
		// 2 -> front left
		// 3 -> back(rear) right
		// 4 -> back(rear) left

		enc1 = __HAL_TIM_GetCounter(&htim3) * (-1);
		enc2 = __HAL_TIM_GetCounter(&htim8);
		enc3 = __HAL_TIM_GetCounter(&htim23);
		enc4 = __HAL_TIM_GetCounter(&htim24);

		n++;

		PV1 = (double) enc1 / (4 * 512 * 27 * 0.001) ;
		PV2 = (double) enc2 / (4 * 512 * 27 * 0.001);
		PV3 = (double) enc3 / (4 * 500 * 27 * 0.001);
		PV4 = (double) enc4 / (4 * 512 * 64 * 0.001);

 		__HAL_TIM_SetCounter(&htim3, 0);
 		__HAL_TIM_SetCounter(&htim8, 0);
 		__HAL_TIM_SetCounter(&htim23, 0);
 		__HAL_TIM_SetCounter(&htim24, 0);

		error1 = SP1 - PV1;
		error2 = SP2 - PV2;
		error3 = SP3 - PV3;
		error4 = SP4 - PV4;

		errorsum1 += error1;
		errorsum2 += error2;
		errorsum3 += error3;
		errorsum4 += error4;

		ut1 = Kp1 * error1 + Ki1 * errorsum1 * 0.001;
		ut2 = Kp2 * error2 + Ki2 * errorsum2 * 0.001;
		ut3 = Kp3 * error3 + Ki3 * errorsum3 * 0.001;
		ut4 = Kp4 * error4 + Ki4 * errorsum4 * 0.001;

		if(ut1 > 1){
			ut1 = 1;
		}else if(ut1 < -1){
			ut1 = -1;
		}

		if(ut2 > 1){
			ut2 = 1;
		}else if(ut2 < -1){
			ut2 = -1;
		}

		if(ut3 > 1){
			ut3 = 1;
		}else if(ut3 < -1){
			ut3 = -1;
		}

		if(ut4 > 1){
			ut4 = 1;
		}else if(ut4 < -1){
			ut4 = -1;
		}

		if(ut1 < 0){
			HAL_GPIO_WritePin(GPIOF, GPIO_PIN_2, GPIO_PIN_RESET);
			HAL_GPIO_WritePin(GPIOF, GPIO_PIN_10, GPIO_PIN_SET);
		}else if(ut1 > 0){
			HAL_GPIO_WritePin(GPIOF, GPIO_PIN_2, GPIO_PIN_SET);
			HAL_GPIO_WritePin(GPIOF, GPIO_PIN_10, GPIO_PIN_RESET);
		}else if(ut1 == 0){
			HAL_GPIO_WritePin(GPIOF, GPIO_PIN_2, GPIO_PIN_RESET);
			HAL_GPIO_WritePin(GPIOF, GPIO_PIN_10, GPIO_PIN_RESET);
		}

		if(ut2 < 0){
			HAL_GPIO_WritePin(GPIOD, GPIO_PIN_0, GPIO_PIN_RESET);
			HAL_GPIO_WritePin(GPIOD, GPIO_PIN_1, GPIO_PIN_SET);
		}else if(ut2 > 0){
			HAL_GPIO_WritePin(GPIOD, GPIO_PIN_0, GPIO_PIN_SET);
			HAL_GPIO_WritePin(GPIOD, GPIO_PIN_1, GPIO_PIN_RESET);
		}else if(ut2 == 0){
			HAL_GPIO_WritePin(GPIOD, GPIO_PIN_0, GPIO_PIN_RESET);
			HAL_GPIO_WritePin(GPIOD, GPIO_PIN_1, GPIO_PIN_RESET);
		}

		if(ut3 > 0){
			HAL_GPIO_WritePin(GPIOG, GPIO_PIN_0, GPIO_PIN_SET);
			HAL_GPIO_WritePin(GPIOG, GPIO_PIN_1, GPIO_PIN_RESET);
		}else if(ut3 < 0){
			HAL_GPIO_WritePin(GPIOG, GPIO_PIN_0, GPIO_PIN_RESET);
			HAL_GPIO_WritePin(GPIOG, GPIO_PIN_1, GPIO_PIN_SET);
		}else if(ut3 == 0){
			HAL_GPIO_WritePin(GPIOG, GPIO_PIN_0, GPIO_PIN_RESET);
			HAL_GPIO_WritePin(GPIOG, GPIO_PIN_1, GPIO_PIN_RESET);
		}

		if(ut4 > 0){
			HAL_GPIO_WritePin(GPIOE, GPIO_PIN_10, GPIO_PIN_RESET);
			HAL_GPIO_WritePin(GPIOE, GPIO_PIN_12,  GPIO_PIN_SET);
		}else if(ut4 < 0){
			HAL_GPIO_WritePin(GPIOE, GPIO_PIN_10, GPIO_PIN_SET);
			HAL_GPIO_WritePin(GPIOE, GPIO_PIN_12, GPIO_PIN_RESET);
		}else if(ut4 == 0){
			HAL_GPIO_WritePin(GPIOE, GPIO_PIN_10, GPIO_PIN_RESET);
			HAL_GPIO_WritePin(GPIOE, GPIO_PIN_12, GPIO_PIN_RESET);
		}

		ut1 = fabs(ut1);
		ut2 = fabs(ut2);
		ut3 = fabs(ut3);
		ut4 = fabs(ut4);

		__HAL_TIM_SET_COMPARE(&htim4, TIM_CHANNEL_1, ut1 * 1000);
		__HAL_TIM_SET_COMPARE(&htim5, TIM_CHANNEL_1, ut2 * 1000);
		__HAL_TIM_SET_COMPARE(&htim15, TIM_CHANNEL_1, ut3 * 1000);
		__HAL_TIM_SET_COMPARE(&htim1, TIM_CHANNEL_1, ut4 * 1000);

		error_last1 = error1;
		error_last2 = error2;
		error_last3 = error3;
		error_last4 = error4;

		// rpm_to_radps
		push_vel_x = (PV1*wheel_trans1 + PV2*wheel_trans2 + PV3*wheel_trans3 + PV4*wheel_trans4) * r/4 ;
		push_vel_y = (-PV2*wheel_trans2 + PV1*wheel_trans1 + PV4*wheel_trans4 - PV3*wheel_trans3) * r/4 ;
		push_vel_z = (-PV2*wheel_trans2 + PV1*wheel_trans1 - PV4*wheel_trans4 + PV3*wheel_trans3) * r/(4 * (lx + ly) );

		// 1 -> front right
		// 2 -> front left
		// 3 -> back(rear) right
		// 4 -> back(rear) left
		kkk += 1;
		if(kkk == 10){
			// change parameter to real velocity
			 publish_vel(push_vel_x, push_vel_y, push_vel_z);
//			publish_vel(get_vel_x, get_vel_y, get_vel_z);
			kkk = 0;
		}
	}
}

/* PID 角度
	void HAL_TIM_PeriodElapsedCallback(TIM_HandleTypeDef *htim){
		if(htim -> Instance == TIM2){
			enc = __HAL_TIM_GetCounter(&htim3);
			angle = (double) enc * 360 / (4 * 512 * 36);
			PVangle += angle;
			__HAL_TIM_SetCounter(&htim3, 0);
			error = SPangle - PVangle;
			ut = Kp * error + Ki * errorsum * 0.001 + Kd * (error - error_last) / 0.001;
		}
		if(ut > 999){
			ut = 450;
		}else if(ut < -999){
			ut = -450;
		}

		if(ut > 0){
			HAL_GPIO_WritePin(GPIOG, GPIO_PIN_5, GPIO_PIN_SET);
			HAL_GPIO_WritePin(GPIOG, GPIO_PIN_6, GPIO_PIN_RESET);
		}else if(ut < 0){
			HAL_GPIO_WritePin(GPIOG, GPIO_PIN_5, GPIO_PIN_RESET);
			HAL_GPIO_WritePin(GPIOG, GPIO_PIN_6, GPIO_PIN_SET);
		}else if(ut == 0){
			HAL_GPIO_WritePin(GPIOG, GPIO_PIN_5, GPIO_PIN_RESET);
			HAL_GPIO_WritePin(GPIOG, GPIO_PIN_6, GPIO_PIN_RESET);
		}
		ut = fabs(ut);
		__HAL_TIM_SET_COMPARE(&htim4, TIM_CHANNEL_1, ut);
		error_last = error;
	}
*/

/* USER CODE END 4 */

void Error_Handler(void)
{
  __disable_irq();
  while (1)
  {
  }
}
